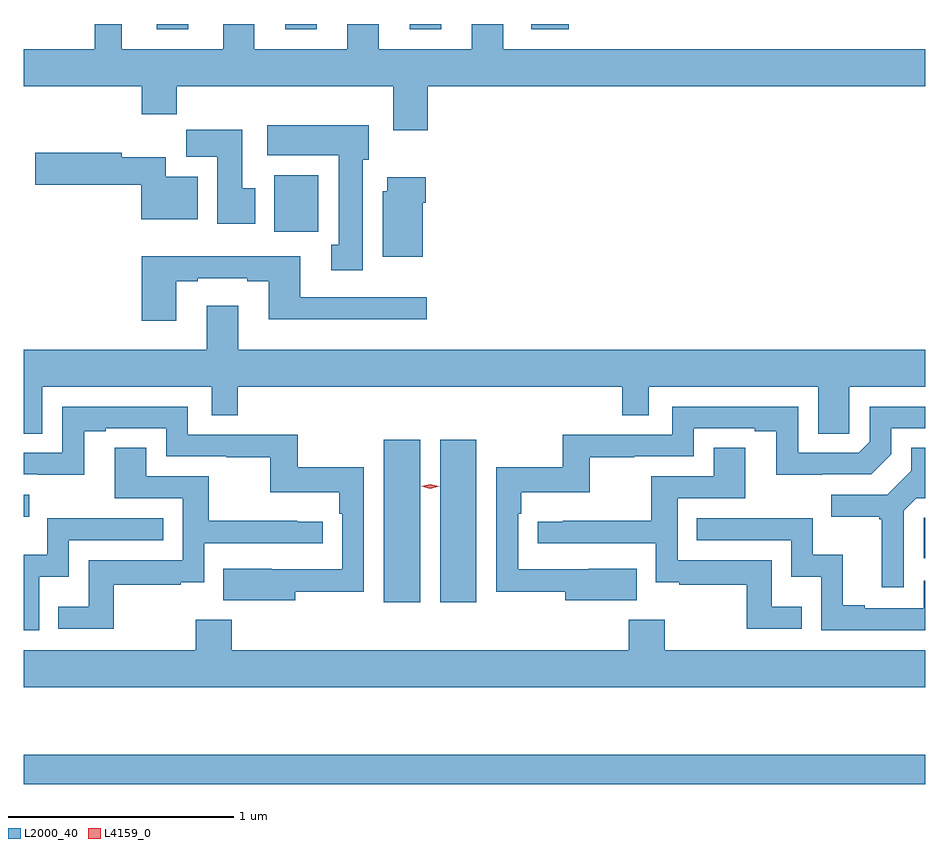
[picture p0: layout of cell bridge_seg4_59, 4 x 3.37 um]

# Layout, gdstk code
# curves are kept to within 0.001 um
import gdstk
lib = gdstk.Library(unit=1e-6, precision=1e-09)
def R(c, l, rs):  # rectangles x0, y0, x1, y1
    for r in rs: c.add(gdstk.rectangle(r[:2], r[2:], *l))
def P(c, l, *ps):  # polygons
    for p in ps: c.add(gdstk.Polygon(p, *l))
L2000_40 = (2000, 40)
L4159_0 = (4159, 0)

bridge_seg4_59 = lib.new_cell('bridge_seg4_59')
R(bridge_seg4_59, L2000_40, [(854.151,813.706,858.151,813.835), (855.749,814.512,855.91,815.233), (855.998,814.512,856.159,815.233), (858.144,814.707,858.151,814.887), (854.151,814.892,854.176,814.989), (855.263,816.156,855.459,816.406), (854.741,817.053,854.881,817.077), (855.311,817.053,855.451,817.077), (855.863,817.053,856.003,817.077), (856.403,817.053,856.568,817.077)])
P(bridge_seg4_59, L2000_40, [(855.944,816.8),(858.151,816.8),(858.151,816.964),(856.279,816.964),(856.279,817.077),(856.139,817.077),(856.139,816.964),(855.727,816.964),(855.727,817.077),(855.587,817.077),(855.587,816.964),(855.175,816.964),(855.175,817.077),(855.036,817.077),(855.036,816.964),(854.587,816.964),(854.587,817.077),(854.466,817.077),(854.466,816.964),(854.151,816.964),(854.151,816.8),(854.675,816.8),(854.675,816.676),(854.831,816.676),(854.831,816.8),(855.791,816.8),(855.791,816.606),(855.944,816.606)],
  [(855.655,816.474),(855.682,816.474),(855.682,816.628),(855.231,816.628),(855.231,816.494),(855.548,816.494),(855.548,816.097),(855.515,816.097),(855.515,815.985),(855.655,815.985)],
  [(855.178,816.348),(855.121,816.348),(855.121,816.607),(854.872,816.607),(854.872,816.488),(855.011,816.488),(855.011,816.192),(855.178,816.192)],
  [(854.923,816.4),(854.782,816.4),(854.782,816.487),(854.586,816.487),(854.586,816.507),(854.202,816.507),(854.202,816.365),(854.672,816.365),(854.672,816.212),(854.923,816.212)],
  [(855.922,816.284),(855.935,816.284),(855.935,816.397),(855.764,816.397),(855.764,816.336),(855.743,816.336),(855.743,816.044),(855.922,816.044)],
  [(854.827,815.937),(854.923,815.937),(854.923,815.949),(855.143,815.949),(855.143,815.937),(855.239,815.937),(855.239,815.768),(855.94,815.768),(855.94,815.865),(855.379,815.865),(855.379,816.046),(854.675,816.046),(854.675,815.76),(854.827,815.76)],
  [(854.233,815.468),(854.985,815.468),(854.985,815.341),(855.101,815.341),(855.101,815.468),(856.807,815.468),(856.807,815.341),(856.923,815.341),(856.923,815.468),(857.675,815.468),(857.675,815.26),(857.814,815.26),(857.814,815.468),(858.151,815.468),(858.151,815.632),(855.103,815.632),(855.103,815.827),(854.963,815.827),(854.963,815.632),(854.151,815.632),(854.151,815.26),(854.233,815.26)],
  [(856.871,814.66),(856.344,814.659),(856.344,814.904),(856.358,814.904),(856.358,815),(856.663,815),(856.663,815.155),(856.859,815.155),(856.859,815.16),(857.124,815.16),(857.124,815.283),(857.393,815.283),(857.393,815.271),(857.489,815.271),(857.489,815.078),(857.91,815.079),(858,815.169),(858,815.283),(858.151,815.283),(858.151,815.379),(857.904,815.379),(857.904,815.223),(857.856,815.175),(857.586,815.175),(857.586,815.379),(857.028,815.379),(857.028,815.256),(856.542,815.256),(856.542,815.11),(856.248,815.11),(856.248,814.558),(856.553,814.558),(856.553,814.52),(856.871,814.52)],
  [(855.355,814.558),(855.66,814.558),(855.66,815.11),(855.367,815.11),(855.367,815.256),(854.88,815.256),(854.88,815.379),(854.322,815.379),(854.322,815.175),(854.151,815.175),(854.151,815.079),(854.214,815.079),(854.214,815.078),(854.419,815.078),(854.419,815.271),(854.515,815.271),(854.515,815.283),(854.784,815.283),(854.784,815.16),(855.049,815.16),(855.049,815.155),(855.246,815.155),(855.246,815),(855.551,815),(855.551,814.904),(855.564,814.904),(855.564,814.659),(855.251,814.659),(855.251,814.66),(855.037,814.66),(855.037,814.52),(855.355,814.52)],
  [(858.054,814.917),(858.111,814.974),(858.151,814.974),(858.151,815.198),(858.089,815.198),(858.089,815.096),(857.982,814.989),(857.733,814.989),(857.733,814.892),(857.946,814.892),(857.946,814.881),(857.957,814.881),(857.957,814.578),(858.054,814.578)],
  [(854.551,814.59),(854.849,814.59),(854.849,814.601),(854.952,814.601),(854.952,814.773),(855.478,814.773),(855.478,814.869),(855.365,814.869),(855.365,814.874),(854.972,814.874),(854.972,815.07),(854.695,815.07),(854.695,815.198),(854.555,815.198),(854.555,814.974),(854.856,814.974),(854.856,814.698),(854.44,814.698),(854.44,814.492),(854.305,814.492),(854.305,814.395),(854.551,814.395)],
  [(857.603,814.492),(857.469,814.492),(857.469,814.698),(857.052,814.698),(857.052,814.974),(857.353,814.974),(857.353,815.198),(857.213,815.198),(857.213,815.07),(856.936,815.07),(856.936,814.874),(856.543,814.874),(856.543,814.869),(856.431,814.869),(856.431,814.773),(856.956,814.773),(856.956,814.601),(857.059,814.601),(857.059,814.59),(857.358,814.59),(857.358,814.395),(857.603,814.395)],
  [(854.22,814.625),(854.352,814.625),(854.352,814.788),(854.771,814.788),(854.771,814.884),(854.256,814.884),(854.256,814.723),(854.151,814.723),(854.151,814.389),(854.22,814.389)],
  [(858.151,814.608),(858.144,814.608),(858.144,814.485),(857.881,814.485),(857.881,814.498),(857.785,814.498),(857.785,814.723),(857.652,814.723),(857.652,814.884),(857.137,814.884),(857.137,814.788),(857.556,814.788),(857.556,814.625),(857.688,814.625),(857.688,814.389),(858.151,814.389)],
  [(858.151,814.3),(856.995,814.3),(856.995,814.435),(856.835,814.435),(856.835,814.3),(855.074,814.3),(855.074,814.435),(854.914,814.435),(854.914,814.3),(854.151,814.3),(854.151,814.136),(858.151,814.136)])
P(bridge_seg4_59, L4159_0, [(855.954,815.016),(855.914,815.026),(855.914,815.026),(855.914,815.026),(855.954,815.036),(855.994,815.026),(855.994,815.026),(855.994,815.026)])

lib.write_gds('bridge_seg4_59.gds')
